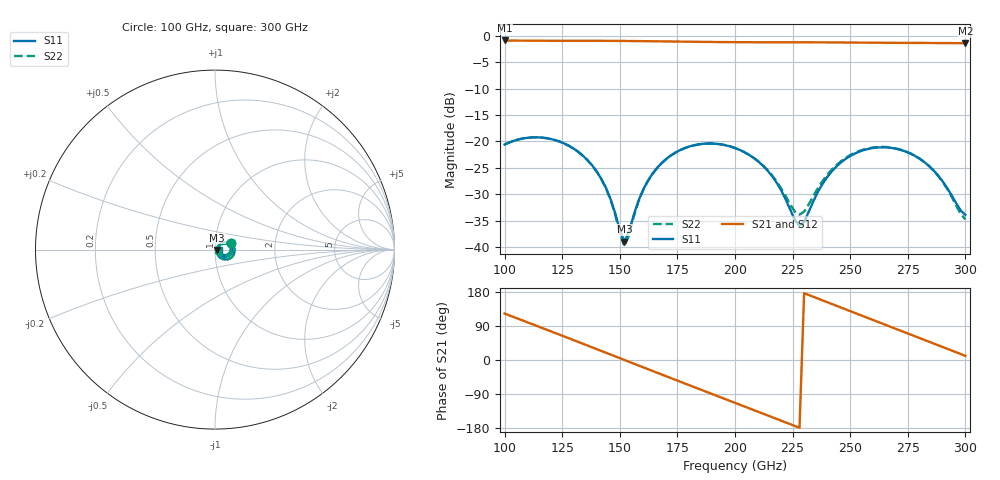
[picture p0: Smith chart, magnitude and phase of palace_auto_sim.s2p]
#  GHZ S DB R 50
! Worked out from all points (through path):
!   101 points, 100 GHz to 300 GHz, reference 50 ohm
!   highest |S21| = -0.90 dB at 100 GHz (marker M1); lowest = -1.4 dB at 300 GHz (marker M2)
!   group delay of S21, straight-line fit = 6.55 ps
!   lowest |S11| = -39.0 dB at 152 GHz (marker M3), VSWR 1.02, Z = 51.1 - j0.172 ohm
!   |S11| at or under -10 dB: start of sweep to end of sweep
!   |S22| runs from -39.8 to -19.2 dB; largest |S21 - S12| = 1e-13
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100  -20.61 22.0  -0.90 122.6  -0.90 122.6  -20.60 21.5
108  -19.45 5.6  -0.93 103.9  -0.93 103.9  -19.44 5.1
116  -19.28 -11.1  -0.95 85.2  -0.95 85.2  -19.28 -11.7
124  -20.06 -27.8  -0.96 66.5  -0.96 66.5  -20.07 -28.4
134  -22.72 -47.5  -0.96 42.9  -0.96 42.9  -22.73 -48.4
144  -28.83 -60.5  -0.97 19.1  -0.97 19.1  -28.90 -62.2
152  -38.96 -8.6  -0.99 0.1  -0.99 0.1  -39.84 -9.2
160  -29.26 46.9  -1.03 -18.9  -1.03 -18.9  -29.37 48.6
168  -24.17 38.1  -1.07 -37.8  -1.07 -37.8  -24.22 39.2
184  -20.57 8.4  -1.16 -75.5  -1.16 -75.5  -20.60 9.3
192  -20.46 -7.1  -1.19 -94.3  -1.19 -94.3  -20.48 -6.0
200  -21.26 -22.0  -1.22 -113.1  -1.22 -113.1  -21.27 -20.5
214  -25.46 -43.6  -1.24 -145.9  -1.24 -145.9  -25.38 -40.2
228  -35.95 -3.3  -1.25 -178.9  -1.25 -178.9  -33.87 -1.6
234  -31.34 40.4  -1.25 166.9  -1.25 166.9  -30.35 33.5
240  -26.76 43.1  -1.26 152.6  -1.26 152.6  -26.36 37.4
248  -23.33 32.6  -1.29 133.7  -1.29 133.7  -23.14 28.3
258  -21.41 14.5  -1.32 110.1  -1.32 110.1  -21.31 10.9
268  -21.25 -4.5  -1.34 86.5  -1.34 86.5  -21.18 -8.0
276  -22.29 -19.0  -1.36 67.6  -1.36 67.6  -22.25 -22.6
284  -24.58 -30.9  -1.38 48.7  -1.38 48.7  -24.59 -35.0
300  -33.91 -0.5  -1.41 11.0  -1.41 11.0  -34.75 -4.0
